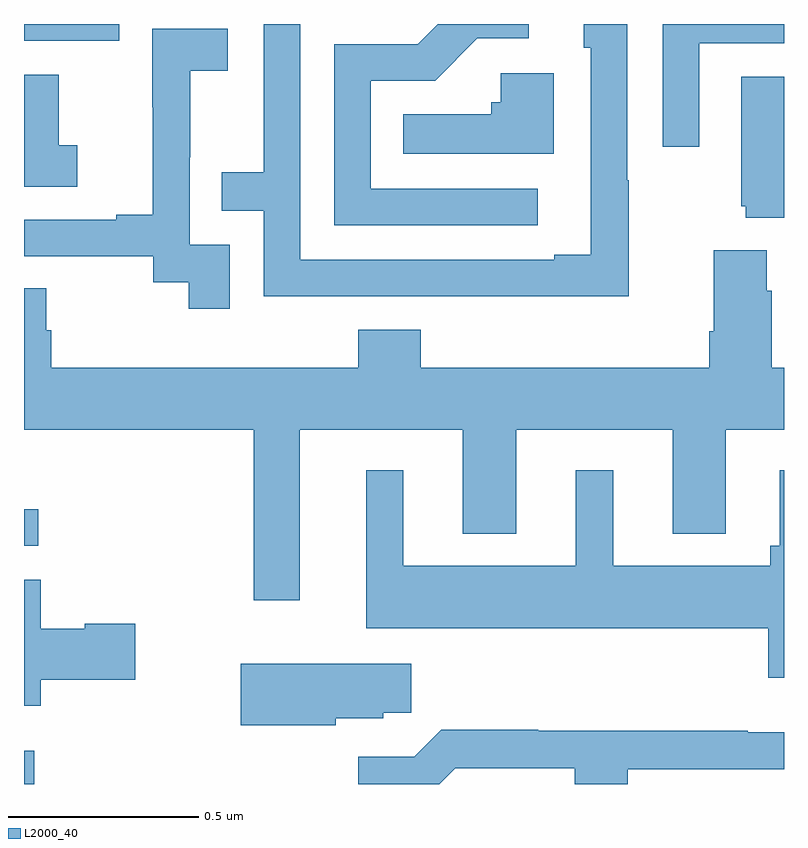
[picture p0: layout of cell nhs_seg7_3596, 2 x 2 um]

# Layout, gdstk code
import gdstk
lib = gdstk.Library(unit=1e-6, precision=1e-09)
def R(c, l, rs):  # rectangles x0, y0, x1, y1
    for r in rs: c.add(gdstk.rectangle(r[:2], r[2:], *l))
def P(c, l, *ps):  # polygons
    for p in ps: c.add(gdstk.Polygon(p, *l))
L2000_40 = (2000, 40)

nhs_seg7_3596 = lib.new_cell('nhs_seg7_3596')
R(nhs_seg7_3596, L2000_40, [(161,1017,161.027,1017.088), (161,1017.627,161.038,1017.723), (161,1018.956,161.25,1019)])
P(nhs_seg7_3596, L2000_40, [(162.591,1018.589),(162.588,1018.589),(162.588,1019),(162.473,1019),(162.473,1018.938),(162.492,1018.938),(162.492,1018.393),(162.395,1018.393),(162.395,1018.38),(161.727,1018.38),(161.727,1019),(161.631,1019),(161.631,1018.61),(161.521,1018.61),(161.521,1018.509),(161.631,1018.509),(161.631,1018.284),(162.127,1018.284),(162.127,1018.283),(162.591,1018.283)],
  [(162.352,1018.566),(161.913,1018.566),(161.913,1018.851),(162.082,1018.851),(162.193,1018.962),(162.328,1018.962),(162.328,1019),(162.089,1019),(162.036,1018.947),(161.817,1018.947),(161.817,1018.47),(162.352,1018.47)],
  [(162.777,1018.95),(163,1018.95),(163,1019),(162.681,1019),(162.681,1018.677),(162.777,1018.677)],
  [(161.541,1018.419),(161.436,1018.419),(161.436,1018.649),(161.438,1018.649),(161.438,1018.877),(161.536,1018.877),(161.536,1018.987),(161.338,1018.987),(161.338,1018.781),(161.339,1018.781),(161.339,1018.498),(161.243,1018.498),(161.243,1018.485),(161,1018.485),(161,1018.389),(161.34,1018.389),(161.34,1018.321),(161.433,1018.321),(161.433,1018.251),(161.541,1018.251)],
  [(162.394,1018.87),(162.255,1018.87),(162.255,1018.794),(162.229,1018.794),(162.229,1018.762),(161.998,1018.762),(161.998,1018.658),(162.394,1018.658)],
  [(161.14,1018.681),(161.091,1018.681),(161.091,1018.866),(161,1018.866),(161,1018.572),(161.14,1018.572)],
  [(163,1018.861),(162.887,1018.861),(162.887,1018.521),(162.899,1018.521),(162.899,1018.49),(163,1018.49)],
  [(161.725,1017.932),(162.155,1017.932),(162.155,1017.659),(162.295,1017.659),(162.295,1017.932),(162.707,1017.932),(162.707,1017.659),(162.847,1017.659),(162.847,1017.932),(163,1017.932),(163,1018.096),(162.968,1018.096),(162.968,1018.298),(162.955,1018.298),(162.955,1018.405),(162.815,1018.405),(162.815,1018.192),(162.803,1018.192),(162.803,1018.096),(162.044,1018.096),(162.044,1018.195),(161.879,1018.195),(161.879,1018.096),(161.072,1018.096),(161.072,1018.194),(161.059,1018.194),(161.059,1018.304),(161,1018.304),(161,1017.932),(161.604,1017.932),(161.604,1017.483),(161.725,1017.483)],
  [(163,1017.826),(162.989,1017.826),(162.989,1017.627),(162.964,1017.627),(162.964,1017.574),(162.55,1017.574),(162.55,1017.826),(162.452,1017.826),(162.452,1017.574),(161.998,1017.574),(161.998,1017.826),(161.9,1017.826),(161.9,1017.41),(162.959,1017.41),(162.959,1017.279),(163,1017.279)],
  [(161.044,1017.275),(161.293,1017.275),(161.293,1017.422),(161.16,1017.422),(161.16,1017.409),(161.044,1017.409),(161.044,1017.538),(161,1017.538),(161,1017.206),(161.044,1017.206)],
  [(161.82,1017.173),(161.946,1017.173),(161.946,1017.187),(162.019,1017.187),(162.019,1017.316),(161.57,1017.316),(161.57,1017.155),(161.82,1017.155)],
  [(162.135,1017.042),(162.449,1017.042),(162.449,1017),(162.589,1017),(162.589,1017.039),(163,1017.039),(163,1017.136),(162.905,1017.136),(162.905,1017.14),(162.353,1017.14),(162.353,1017.143),(162.098,1017.143),(162.027,1017.072),(161.879,1017.072),(161.879,1017),(162.093,1017)])

lib.write_gds('nhs_seg7_3596.gds')
